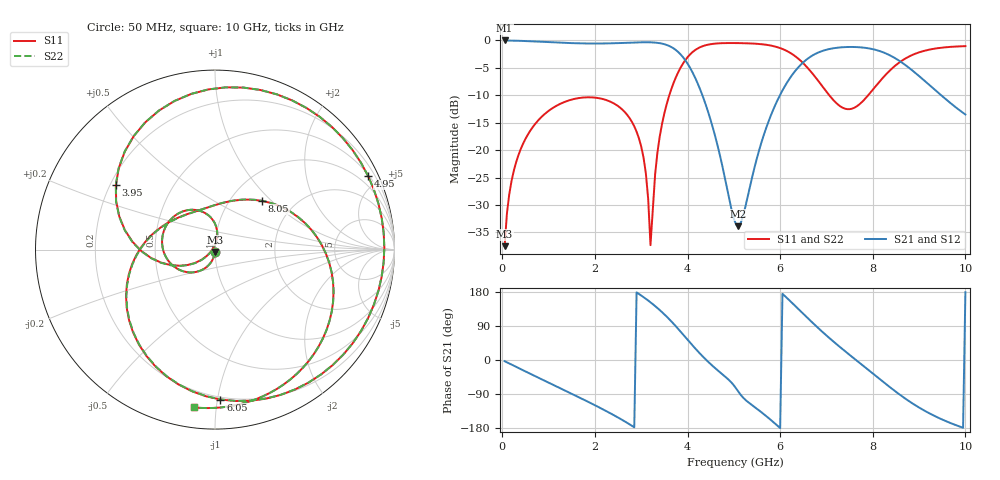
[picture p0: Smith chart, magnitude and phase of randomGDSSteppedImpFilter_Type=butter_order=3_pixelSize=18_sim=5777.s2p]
! freq	dB(S11)	phase(S11)	dB(S12)	phase(S12)
!  dB(S21)	phase(S21)	dB(S22)	phase(S22)
!S-par simulation data
#  GHz  S  DB  R 50
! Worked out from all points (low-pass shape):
!   200 points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, 50 MHz to 10 GHz, reference 50 ohm
!   highest |S21| = -0.01 dB at 50 MHz (marker M1); lowest = -33.9 dB at 5.1 GHz (marker M2)
!   |S21| within 3 dB of the highest: start of sweep to 3.897 GHz; 6.648 GHz to 8.435 GHz (1.787 GHz wide, 23.7 % of centre)
!   lowest |S11| = -37.5 dB at 50 MHz (marker M3), VSWR 1.03, Z = 49.9 - j1.33 ohm
!   |S11| at or under -10 dB: start of sweep to 3.606 GHz; 7.061 GHz to 7.901 GHz (839.5 MHz wide, 11.2 % of centre)
!   |S22| runs from -37.8 to -0.5 dB; largest |S21 - S12| = 0
!   S11 on the Smith chart (normalised r, x): 50 MHz: 1.00, -0.03; 3.95 GHz: 0.22, +0.29; 4.95 GHz: 0.55, +4.34; 6.05 GHz: 0.18, -1.02; 8.05 GHz: 1.39, +0.88; 10 GHz: 0.11, -0.87
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0.05  -37.49 -92.5  -0.01 -3.1  -0.01 -3.1  -37.49 -92.5
0.2  -25.59 -102.2  -0.03 -12.2  -0.03 -12.2  -25.59 -102.2
0.5  -17.95 -120.6  -0.11 -30.2  -0.11 -30.2  -17.95 -120.6
1.75  -10.40 165.4  -0.55 -104.1  -0.55 -104.1  -10.40 165.3
2.85  -15.66 94.1  -0.38 -177.5  -0.38 -177.5  -15.66 93.9
3.1  -24.22 80.3  -0.33 161.5  -0.33 161.5  -24.24 79.6
3.2  -37.31 127.4  -0.34 152.2  -0.34 152.2  -37.84 125.9
3.4  -17.50 -146.2  -0.50 131.8  -0.50 131.8  -17.51 -145.7
3.7  -7.72 -179.0  -1.46 95.4  -1.46 95.4  -7.72 -178.8
3.95  -3.61 146.7  -3.59 60.7  -3.59 60.7  -3.61 146.9
4.4  -0.86 86.1  -11.88 0.6  -11.88 0.6  -0.86 86.2
4.95  -0.48 25.6  -30.83 -59.7  -30.83 -59.7  -0.48 25.8
5.05  -0.48 15.5  -33.59 -75.2  -33.59 -75.2  -0.48 15.7
5.1  -0.49 10.6  -33.85 -83.9  -33.85 -83.9  -0.49 10.8
5.55  -0.65 -34.3  -19.90 -133.6  -19.90 -133.6  -0.65 -34.0
6.05  -1.56 -87.9  -9.11 174.7  -9.11 174.7  -1.56 -87.6
6.7  -6.05 -164.3  -2.73 98.3  -2.73 98.3  -6.05 -163.7
7.45  -12.52 110.8  -1.20 18.4  -1.20 18.4  -12.52 111.6
8.05  -8.48 46.1  -1.69 -40.5  -1.69 -40.5  -8.49 46.4
8.35  -5.63 16.4  -2.63 -69.8  -2.63 -69.8  -5.64 16.6
9  -2.17 -39.5  -6.49 -125.5  -6.49 -125.5  -2.17 -39.4
10  -1.04 -97.5  -13.50 179.0  -13.50 179.0  -1.04 -97.5
